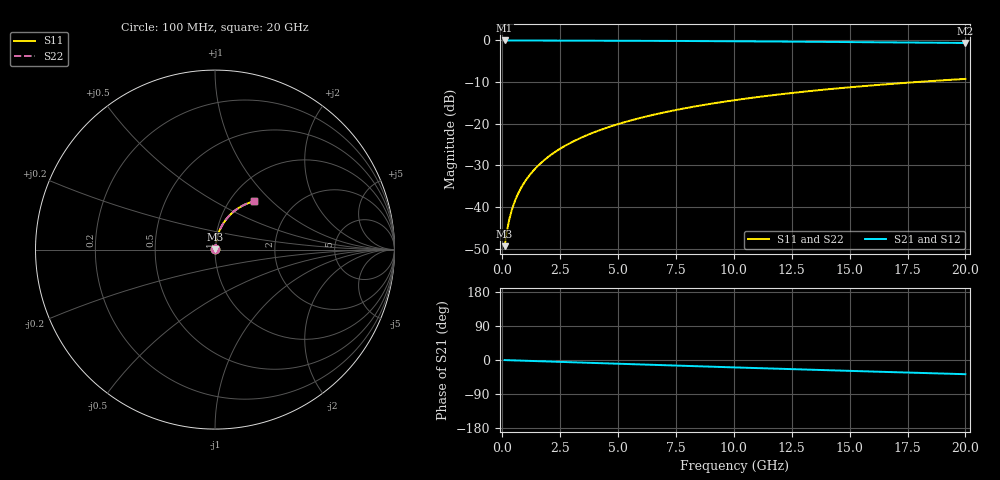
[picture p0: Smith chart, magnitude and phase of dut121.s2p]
! Touchstone file exported from HFSS 2026.1.0
!  File:  C:/ffzhzh/LocalFiles/Ansys_Project_Files/temp_train_TMRDL_121_1782982624_40604.aedt
!  Generated:  04:58:16 PM Jul  2, 2026
!  Design:  TMRDL
!  Project:  temp_train_TMRDL_121_1782982624_40604
! Variables:
!  h_bsmrdl = 2um
!  h_ox = 20um
!  h_rdl = 5um
!  h_sub = 80um
!  h_tmrdl = 2.81um
!  h_tsv = 80um
!  h_via = 3um
!  l_bsmrdl = 300um
!  l_sub = 922.07um
!  l_tmrdl = 522.07um
!  m_sub = 200um
!  pitch = 59.32um
!  r_tsv = 6um
!  s_tmrdl = 10um
!  w_bsmrdl = 18um
!  w_sub = 500um
!  w_tmrdl = 29.54um
!  x_tsv_center1 = 536.84um
!  x_tsv_center2 = 854.84um
!  x_tsv_center3 = 1406.45um
!  x_tsv_center4 = 1724.45um
!  x_tsv_center5 = 2276.06um
!  x_tsv_center6 = 2594.06um
# GHz S MA R 50.000000
! Terminal data exported
! Port[1] = TM_RDL1_1_T1
! Port[2] = TM_RDL1_1_T2
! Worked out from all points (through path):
!   200 points, 100 MHz to 20 GHz, reference 50 ohm
!   highest |S21| = -0.02 dB at 100 MHz (marker M1); lowest = -0.6 dB at 20 GHz (marker M2)
!   group delay of S21, straight-line fit = 5.21 ps
!   lowest |S11| = -49.4 dB at 100 MHz (marker M3), VSWR 1.01, Z = 50.3 + j0.222 ohm
!   |S11| at or under -10 dB: start of sweep to 17.91 GHz
!   |S22| runs from -49.4 to -9.3 dB; largest |S21 - S12| = 2.2e-15
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0.1  0.003377 41.0  0.9975 -0.2  0.9975 -0.2  0.003377 41.0
! Gamma 0 0 0 0
! Port Impedance 50 0 50 0
0.2  0.005134 58.2  0.9973 -0.4  0.9973 -0.4  0.005134 58.2
0.3  0.007052 65.7  0.9971 -0.6  0.9971 -0.6  0.007052 65.7
0.4  0.008984 69.9  0.997 -0.8  0.997 -0.8  0.008984 69.9
0.5  0.01091 72.6  0.9969 -1.0  0.9969 -1.0  0.01091 72.6
0.6  0.01284 74.5  0.9968 -1.2  0.9968 -1.2  0.01284 74.5
0.8  0.0167 77.0  0.9966 -1.6  0.9966 -1.6  0.0167 77.0
1.1  0.02253 79.1  0.9964 -2.2  0.9964 -2.2  0.02253 79.1
1.3  0.02644 79.9  0.9962 -2.6  0.9962 -2.6  0.02644 79.9
1.6  0.03233 80.6  0.996 -3.2  0.996 -3.2  0.03233 80.6
2.1  0.04217 80.9  0.9955 -4.2  0.9955 -4.2  0.04217 80.9
2.7  0.05398 80.7  0.9948 -5.4  0.9948 -5.4  0.05398 80.7
3.5  0.06966 79.8  0.9936 -7.0  0.9936 -7.0  0.06966 79.8
4.2  0.08329 78.8  0.9924 -8.3  0.9924 -8.3  0.08329 78.8
5  0.09873 77.6  0.9907 -9.9  0.9907 -9.9  0.09873 77.6
5.9  0.1159 76.0  0.9886 -11.7  0.9886 -11.7  0.1159 76.0
6.8  0.1328 74.4  0.9861 -13.4  0.9861 -13.4  0.1328 74.4
8.3  0.1605 71.7  0.9815 -16.3  0.9815 -16.3  0.1605 71.7
10.1  0.1925 68.5  0.9751 -19.7  0.9751 -19.7  0.1925 68.5
13.4  0.248 62.5  0.9615 -25.8  0.9615 -25.8  0.248 62.5
16.7  0.2988 56.7  0.9463 -31.7  0.9463 -31.7  0.2988 56.8
20  0.3446 51.1  0.9303 -37.5  0.9303 -37.5  0.3446 51.1
